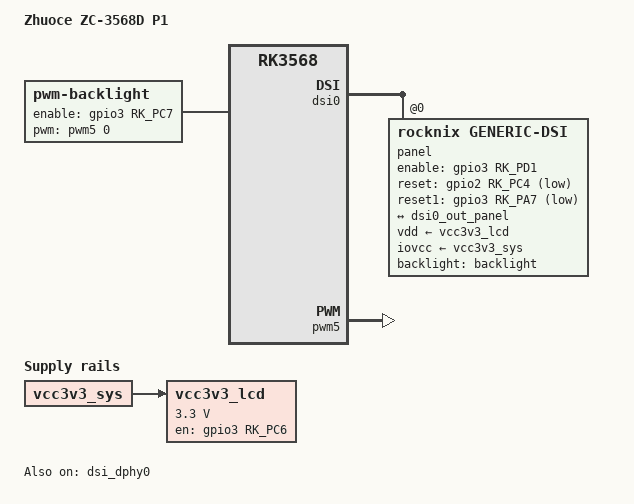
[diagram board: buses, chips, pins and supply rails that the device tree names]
// SPDX-License-Identifier: (GPL-2.0+ OR MIT)
/*
 * Copyright (c) 2022 Fuzhou Rockchip Electronics Co., Ltd.
 * Copyright (c) 2026 retro98boy <retro98boy@qq.com>
 */

#include "rk3568-zc-3568d.dts"

/ {
	model = "Zhuoce ZC-3568D P1";
	compatible = "zhuoce,zc-3568d-p1", "zhuoce,zc-3568d", "rockchip,rk3568";

	backlight: backlight {
		compatible = "pwm-backlight";
		pwms = <&pwm5 0 25000 0>;
		enable-gpios = <&gpio3 RK_PC7 GPIO_ACTIVE_HIGH>;
		post-pwm-on-delay-ms = <10>;
		default-brightness-level = <200>;
		brightness-levels = <
			   0  321  321  321  321  322  322  322
			 323  323  324  324  325  326  327  328
			 329  330  331  332  334  335  337  339
			 340  342  344  346  348  351  353  356
			 358  361  364  366  369  372  376  379
			 382  386  389  393  397  401  405  409
			 413  418  422  427  432  436  441  446
			 451  457  462  468  473  479  485  491
			 497  503  509  516  522  529  536  543
			 550  557  564  571  579  587  594  602
			 610  618  627  635  643  652  661  670
			 679  688  697  706  716  725  735  745
			 755  765  775  786  796  807  817  828
			 839  850  862  873  885  896  908  920
			 932  944  956  969  981  994 1007 1020
			1033 1046 1060 1073 1087 1100 1114 1128
			1143 1157 1171 1186 1200 1215 1230 1245
			1261 1276 1292 1307 1323 1339 1355 1371
			1387 1404 1421 1437 1454 1471 1488 1506
			1523 1541 1558 1576 1594 1612 1631 1649
			1668 1686 1705 1724 1743 1763 1782 1802
			1821 1841 1861 1881 1901 1922 1942 1963
			1984 2005 2026 2047 2069 2090 2112 2134
			2156 2178 2200 2223 2245 2268 2291 2314
			2337 2360 2384 2407 2431 2455 2479 2503
			2527 2552 2576 2601 2626 2651 2676 2702
			2727 2753 2779 2804 2831 2857 2883 2910
			2936 2963 2990 3017 3045 3072 3100 3127
			3155 3183 3212 3240 3268 3297 3326 3355
			3384 3413 3442 3472 3502 3532 3562 3592
			3622 3652 3683 3714 3745 3776 3807 3838
			3870 3902 3933 3965 3998 4030 4062 4095
		>;
	};

	vcc3v3_lcd: regulator-vcc3v3-lcd {
		compatible = "regulator-fixed";
		regulator-name = "vcc3v3_lcd";
		regulator-min-microvolt = <3300000>;
		regulator-max-microvolt = <3300000>;
		gpio = <&gpio3 RK_PC6 GPIO_ACTIVE_HIGH>;
		enable-active-high;
		vin-supply = <&vcc3v3_sys>;
	};
};

&dsi_dphy0 {
	status = "okay";
};

&dsi0 {
	#address-cells = <1>;
	#size-cells = <0>;
	status = "okay";

	panel@0 {
		compatible = "rocknix,generic-dsi";
		reg = <0>;
		backlight = <&backlight>;
		enable-gpios = <&gpio3 RK_PD1 GPIO_ACTIVE_HIGH>;
		reset-gpios = <&gpio2 RK_PC4 GPIO_ACTIVE_LOW>;
		reset1-gpios = <&gpio3 RK_PA7 GPIO_ACTIVE_LOW>;
		vdd-supply = <&vcc3v3_lcd>;
		iovcc-supply = <&vcc3v3_sys>;
		panel_description =
			"G size=330,200 delays=10,100,100,100,0 format=rgb888 lanes=4 flags=0xa03",
			/*
			 * Horizontal total: 1920 + 216 + 44 + 20 = 2200.
			 * Vertical total: 1080 + 20 + 5 + 20 = 1125.
			 * Pixel clock: 2200 * 1125 * 60 Hz = 148500000 Hz.
			 * The clock field uses kHz: 148500000 / 1000 = 148500.
			 */
			"M clock=148500 horizontal=1920,216,44,20 vertical=1080,20,5,20 default=1",
			"I generic=27aa wait=3",
			"I generic=4802 wait=3",
			"I generic=b620 wait=3",
			"I generic=0180 wait=3",
			"I generic=0238 wait=3",
			"I generic=0347 wait=3",
			"I generic=04a0 wait=3",
			"I generic=0514 wait=3",
			"I generic=0664 wait=3",
			"I generic=0700 wait=3",
			"I generic=080a wait=3",
			"I generic=090a wait=3",
			"I generic=0a19 wait=3",
			"I generic=0b82 wait=3",
			"I generic=0c13 wait=3",
			"I generic=0d01 wait=3",
			"I generic=0e80 wait=3",
			"I generic=0f20 wait=3",
			"I generic=1020 wait=3",
			"I generic=1103 wait=3",
			"I generic=121b wait=3",
			"I generic=1353 wait=3",
			"I generic=1401 wait=3",
			"I generic=1523 wait=3",
			"I generic=1640 wait=3",
			"I generic=1700 wait=3",
			"I generic=1801 wait=3",
			"I generic=1923 wait=3",
			"I generic=1a40 wait=3",
			"I generic=1b00 wait=3",
			"I generic=1e46 wait=3",
			"I generic=5130 wait=3",
			"I generic=1f10 wait=3",
			"I generic=2a01 wait=3";

		port {
			panel_in: endpoint {
				remote-endpoint = <&dsi0_out_panel>;
			};
		};
	};
};

&dsi0_in {
	dsi0_in_vp1: endpoint {
		remote-endpoint = <&vp1_out_dsi0>;
	};
};

&dsi0_out {
	dsi0_out_panel: endpoint {
		remote-endpoint = <&panel_in>;
	};
};

&pwm5 {
	status = "okay";
};

/*
 * Mainline DCLK rate changes do not program the parent PLL.
 * Initialize VPLL to 594 MHz to leave the 24 MHz oscillator bypass.
 * VP1 divides VPLL by four to generate the 148.5 MHz pixel clock.
 * Zero entries skip the corresponding parent or frequency assignment.
 */
&vop {
	assigned-clocks = <&cru DCLK_VOP0>, <&cru PLL_VPLL>, <&cru DCLK_VOP1>;
	assigned-clock-parents = <&pmucru PLL_HPLL>, <0>, <&cru PLL_VPLL>;
	assigned-clock-rates = <0>, <594000000>, <148500000>;
};

&vp1 {
	vp1_out_dsi0: endpoint@ROCKCHIP_VOP2_EP_MIPI0 {
		reg = <ROCKCHIP_VOP2_EP_MIPI0>;
		remote-endpoint = <&dsi0_in_vp1>;
	};
};
